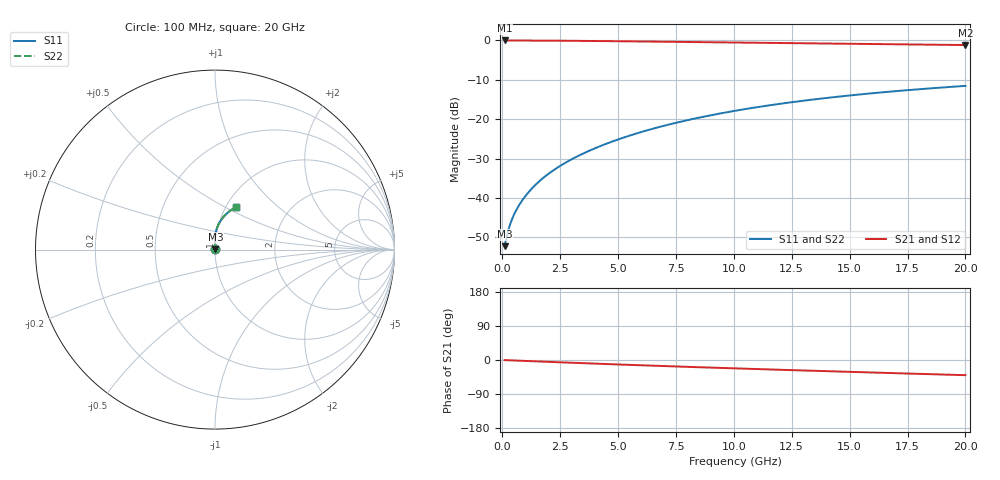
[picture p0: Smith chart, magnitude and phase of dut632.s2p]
! Touchstone file exported from HFSS 2024.1.0
!  File:  C:/UserFiles/LocalFiles/RDL_TSV_Batchsim/temp_RDL_top_632_1779780613.aedt
!  Generated:  03:32:05 PM May 26, 2026
!  Design:  RDL_top
!  Project:  temp_RDL_top_632_1779780613
!  Setup:  Setup1
!  Solution:  Sweep
! Variables:
!  dtsv = 10.80580581um
!  hbump = 3um
!  htsv = 97.88um
!  ldown = 100um
!  lrdl = 646.07um
!  p = 40
!  p1 = 43.68um
!  rhole = 1um
!  t = 450um
!  tdown = 3.915915916um
!  trdl = 4.71um
!  wdown = 15.38538539um
!  wrdl = 26.11um
# GHz S MA R 50.000000
! Terminal data exported
! Port[1] = Box2_T1
! Port[2] = Box2_T2
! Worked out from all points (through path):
!   200 points, 100 MHz to 20 GHz, reference 50 ohm
!   highest |S21| = -0.02 dB at 100 MHz (marker M1); lowest = -1.2 dB at 20 GHz (marker M2)
!   group delay of S21, straight-line fit = 5.48 ps
!   lowest |S11| = -52.2 dB at 100 MHz (marker M3), VSWR 1.00, Z = 50.2 + j0.127 ohm
!   |S11| at or under -10 dB: start of sweep to end of sweep
!   |S22| runs from -52.2 to -11.5 dB; largest |S21 - S12| = 3.2e-15
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0.1  0.002446 31.2  0.9979 -0.3  0.9979 -0.3  0.002446 31.2
! Gamma 0 0 0 0
! Port Impedance 50 0 50 0
0.2  0.003328 47.2  0.9977 -0.5  0.9977 -0.5  0.003328 47.2
0.3  0.004278 55.1  0.9974 -0.8  0.9974 -0.8  0.004278 55.1
0.4  0.0052 60.0  0.9972 -1.0  0.9972 -1.0  0.005201 60.0
0.5  0.006097 63.7  0.997 -1.3  0.997 -1.3  0.006098 63.7
0.6  0.006984 66.6  0.9968 -1.5  0.9968 -1.5  0.006985 66.6
0.8  0.008769 71.2  0.9965 -2.0  0.9965 -2.0  0.00877 71.2
1.1  0.01152 76.1  0.9958 -2.7  0.9958 -2.7  0.01152 76.1
1.6  0.01632 81.2  0.9944 -3.9  0.9944 -3.9  0.01632 81.2
2.1  0.02136 84.3  0.9926 -5.1  0.9926 -5.1  0.02137 84.3
2.7  0.02773 86.8  0.9899 -6.6  0.9899 -6.6  0.02773 86.8
3.5  0.03674 88.7  0.9855 -8.4  0.9855 -8.4  0.03674 88.7
4.2  0.04514 89.6  0.9812 -10.0  0.9812 -10.0  0.04514 89.6
5  0.05527 90.0  0.9758 -11.8  0.9758 -11.8  0.05528 90.0
5.9  0.0673 89.7  0.9694 -13.7  0.9694 -13.7  0.06731 89.7
6.8  0.07988 89.0  0.9627 -15.6  0.9627 -15.6  0.07989 89.0
8.4  0.1032 86.8  0.9509 -18.9  0.9509 -18.9  0.1032 86.8
10.1  0.1285 83.8  0.9385 -22.2  0.9385 -22.2  0.1286 83.8
11.7  0.1524 80.6  0.9271 -25.2  0.9271 -25.2  0.1524 80.6
13.4  0.1773 77.0  0.9154 -28.4  0.9154 -28.4  0.1773 77.1
16.7  0.2231 70.1  0.8935 -34.3  0.8935 -34.3  0.2232 70.2
20  0.2646 63.5  0.8726 -40.0  0.8726 -40.0  0.2647 63.5
